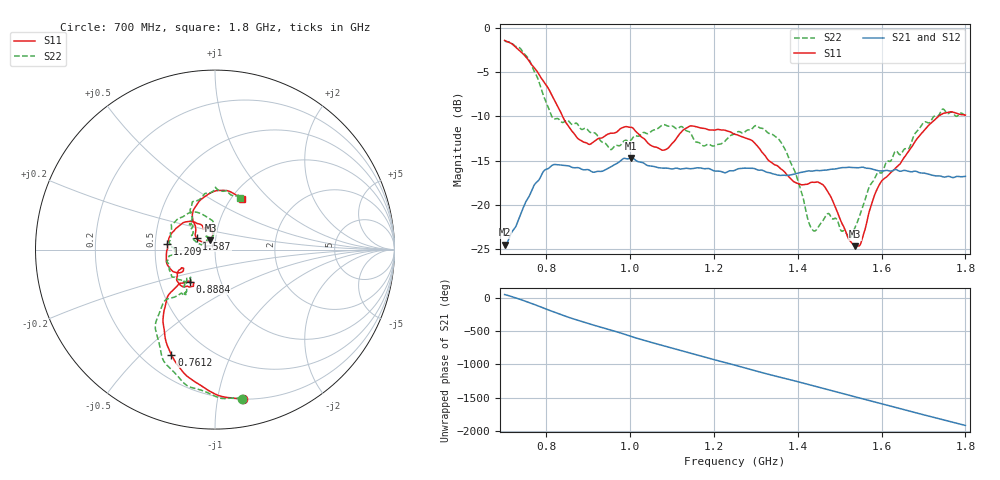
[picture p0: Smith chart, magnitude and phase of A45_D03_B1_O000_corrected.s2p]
! Created with skrf 1.9.0 (http://scikit-rf.org).
# Hz S RI R 50.0
!freq ReS11 ImS11 ReS21 ImS21 ReS12 ImS12 ReS22 ImS22
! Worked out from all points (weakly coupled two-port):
!   1601 points, 700 MHz to 1.8 GHz, reference 50 ohm
!   highest |S21| = -14.70 dB at 1.002 GHz (marker M1); lowest = -24.5 dB at 701.4 MHz (marker M2)
!   lowest |S11| = -24.7 dB at 1.537 GHz (marker M3), VSWR 1.12, Z = 47.2 + j4.98 ohm
!   |S11| at or under -10 dB: 838.4 MHz to 1.736 GHz (897.2 MHz wide, 69.7 % of centre)
!   |S22| runs from -23.8 to -1.5 dB; largest |S21 - S12| = 0.0034
!   S11 on the Smith chart (normalised r, x): 700 MHz: 0.20, -1.19; 761.2 MHz: 0.32, -0.62; 888.4 MHz: 0.71, -0.27; 1.209 GHz: 0.58, +0.04; 1.587 GHz: 0.81, +0.10; 1.8 GHz: 1.12, +0.71
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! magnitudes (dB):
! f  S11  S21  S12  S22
! 700 MHz  -1.4  -24.5  -24.3  -1.5
! 701.4 MHz  -1.5  -24.5  -24.1  -1.5
! 761.2 MHz  -4.0  -18.8  -18.7  -3.9
! 814.8 MHz  -7.8  -15.5  -15.6  -10.2
! 883.6 MHz  -12.8  -16.0  -15.9  -11.5
! 888.4 MHz  -12.9  -16.0  -15.9  -11.4
! 953 MHz  -11.9  -15.7  -15.7  -13.8
! 1.002 GHz  -11.2  -14.7  -14.8  -12.6
! 1.067 GHz  -13.6  -15.8  -15.7  -11.3
! 1.142 GHz  -11.1  -15.9  -15.9  -11.8
! 1.209 GHz  -11.5  -16.2  -16.2  -13.2
! 1.25 GHz  -12.0  -16.1  -16.0  -11.9
! 1.356 GHz  -15.8  -16.7  -16.6  -12.7
! 1.434 GHz  -17.4  -16.2  -16.2  -22.7
! 1.466 GHz  -18.1  -16.1  -16.0  -21.3
! 1.522 GHz  -23.9  -15.8  -15.8  -23.8
! 1.537 GHz  -24.7  -15.8  -15.8  -22.5
! 1.552 GHz  -24.1  -15.7  -15.8  -20.6
! 1.587 GHz  -18.5  -16.1  -16.1  -16.6
! 1.617 GHz  -16.6  -16.1  -16.1  -15.1
! 1.737 GHz  -10.0  -16.7  -16.8  -9.9
! 1.8 GHz  -9.9  -16.8  -16.8  -9.9
